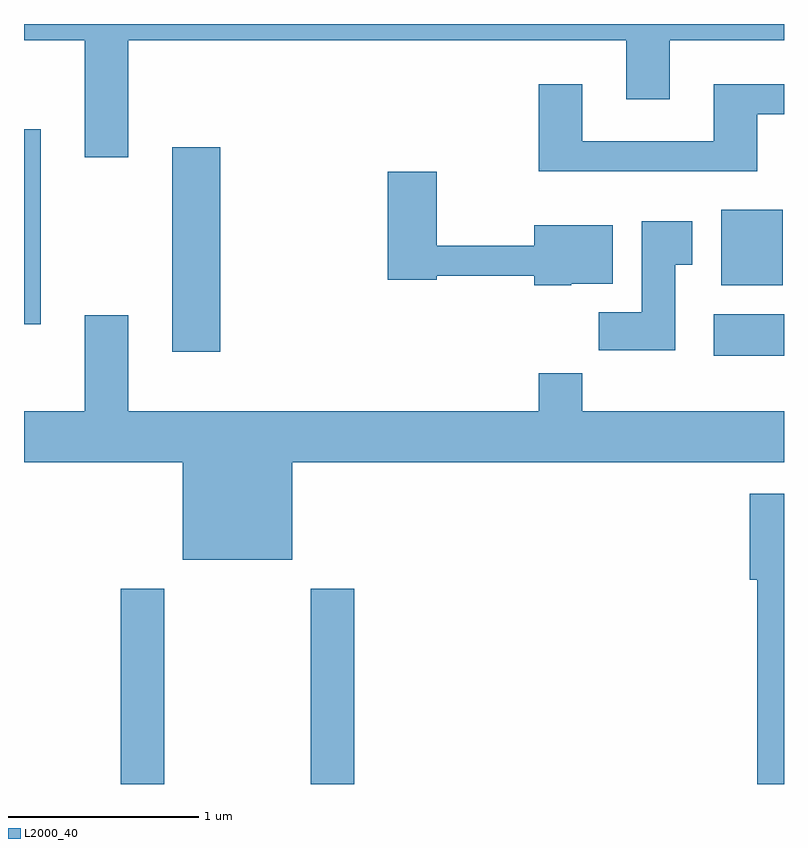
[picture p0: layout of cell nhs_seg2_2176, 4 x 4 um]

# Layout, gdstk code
import gdstk
lib = gdstk.Library(unit=1e-6, precision=1e-09)
def R(c, l, rs):  # rectangles x0, y0, x1, y1
    for r in rs: c.add(gdstk.rectangle(r[:2], r[2:], *l))
def P(c, l, *ps):  # polygons
    for p in ps: c.add(gdstk.Polygon(p, *l))
L2000_40 = (2000, 40)

nhs_seg2_2176 = lib.new_cell('nhs_seg2_2176')
R(nhs_seg2_2176, L2000_40, [(250.121,977.802,250.349,978.829), (251.121,977.802,251.349,978.829), (253.241,980.056,253.611,980.274), (250.391,980.076,250.644,981.154), (249.611,980.221,249.699,981.249), (253.281,980.426,253.604,980.824)])
P(nhs_seg2_2176, L2000_40, [(250.159,981.716),(252.781,981.716),(252.781,981.406),(253.009,981.406),(253.009,981.716),(253.611,981.716),(253.611,981.802),(249.611,981.802),(249.611,981.716),(249.931,981.716),(249.931,981.101),(250.159,981.101)],
  [(253.469,981.326),(253.611,981.326),(253.611,981.484),(253.241,981.484),(253.241,981.184),(252.549,981.184),(252.549,981.484),(252.321,981.484),(252.321,981.026),(253.469,981.026)],
  [(252.49,980.436),(252.709,980.436),(252.709,980.744),(252.296,980.744),(252.296,980.634),(251.784,980.634),(251.784,981.024),(251.526,981.024),(251.526,980.456),(251.784,980.456),(251.784,980.476),(252.296,980.476),(252.296,980.426),(252.49,980.426)],
  [(253.039,980.536),(253.129,980.536),(253.129,980.764),(252.861,980.764),(252.861,980.284),(252.636,980.284),(252.636,980.086),(253.039,980.086)],
  [(251.024,979.496),(253.611,979.496),(253.611,979.764),(252.549,979.764),(252.549,979.964),(252.321,979.964),(252.321,979.764),(250.159,979.764),(250.159,980.269),(249.931,980.269),(249.931,979.764),(249.611,979.764),(249.611,979.496),(250.446,979.496),(250.446,978.981),(251.024,978.981)],
  [(253.611,979.329),(253.431,979.329),(253.431,978.876),(253.471,978.876),(253.471,977.802),(253.611,977.802)])

lib.write_gds('nhs_seg2_2176.gds')
